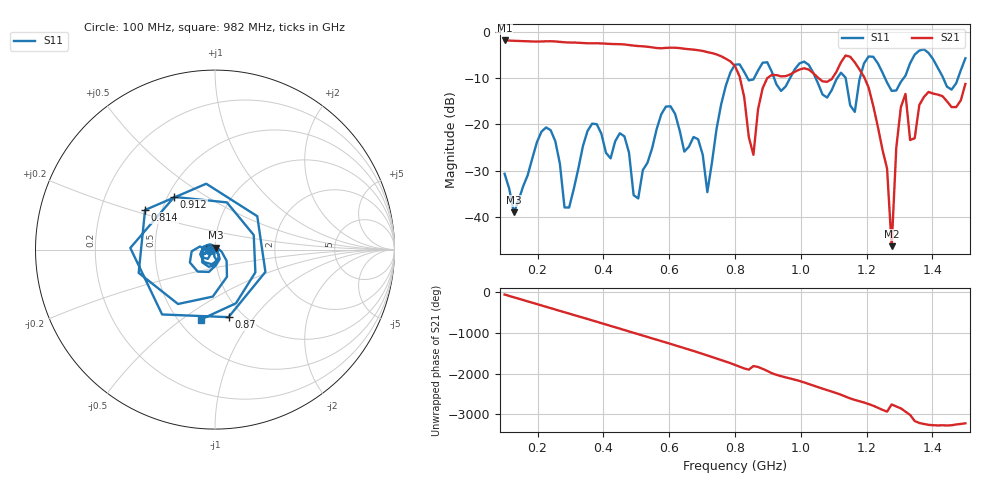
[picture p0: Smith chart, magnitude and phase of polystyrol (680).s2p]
! NanoVNA-App
! Date: 2025-09-25 15:35:10
! Start: 100MHz Stop: 1,5GHz Points: 101
! S-Parameter data: F S11 S21 S12 S22
# Hz S RI R 50
!  Frequency  S11_Real  S11_Imag  S21_Real  S21_Imag  S12_Real  S12_Imag  S22_Real  S22_Imag
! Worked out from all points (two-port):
!   101 points, 100 MHz to 1.5 GHz, reference 50 ohm
!   highest |S21| = -1.80 dB at 100 MHz (marker M1); lowest = -46.4 dB at 1.276 GHz (marker M2)
!   |S21| within 3 dB of the highest: start of sweep to 742.8 MHz
!   lowest |S11| = -39.1 dB at 128 MHz (marker M3), VSWR 1.02, Z = 50.3 + j1.07 ohm
!   |S11| at or under -10 dB: start of sweep to 779.8 MHz; 1.045 GHz to 1.11 GHz (65.02 MHz wide, 6.03 % of centre); 1.256 GHz to 1.312 GHz (56.01 MHz wide, 4.36 % of centre) (the widest 3 of 7)
!   S12 and S22 are empty: the file has one direction only
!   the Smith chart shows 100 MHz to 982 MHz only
!   S11 on the Smith chart (normalised r, x): 100 MHz: 0.94, -0.01; 814 MHz: 0.40, +0.22; 870 MHz: 0.86, -0.76; 912 MHz: 0.54, +0.37; 982 MHz: 0.64, -0.59
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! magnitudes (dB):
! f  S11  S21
! 100 MHz  -30.7  -1.8
! 128 MHz  -39.1  -1.9
! 212 MHz  -21.6  -2.0
! 282 MHz  -38.0  -2.2
! 338 MHz  -24.7  -2.4
! 464 MHz  -22.6  -2.7
! 506 MHz  -36.1  -3.0
! 576 MHz  -17.8  -3.5
! 716 MHz  -34.7  -4.3
! 800 MHz  -7.0  -7.4
! 814 MHz  -7.0  -9.6
! 856 MHz  -10.2  -26.6
! 870 MHz  -8.3  -16.7
! 912 MHz  -8.6  -9.3
! 982 MHz  -8.0  -8.6
! 1.038 GHz  -8.8  -8.9
! 1.192 GHz  -6.8  -9.7
! 1.262 GHz  -10.9  -29.6
! 1.276 GHz  -12.7  -46.4
! 1.29 GHz  -12.6  -25.1
! 1.318 GHz  -9.4  -13.4
! 1.5 GHz  -5.7  -11.2
